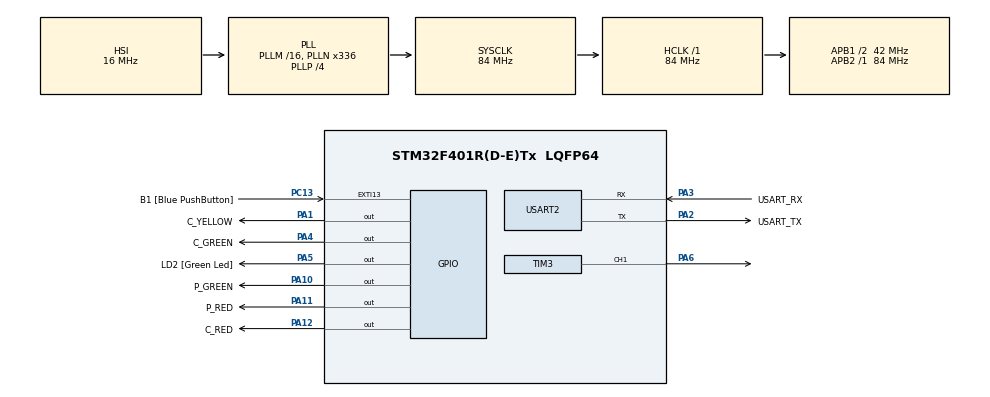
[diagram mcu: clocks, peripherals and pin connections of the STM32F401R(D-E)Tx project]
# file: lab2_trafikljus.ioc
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Mcu.Family=STM32F4
Mcu.Name=STM32F401R(D-E)Tx
Mcu.Package=LQFP64
NVIC.EXTI15_10_IRQn=true\:0\:0\:false\:false\:true\:true\:true\:true
NVIC.PriorityGroup=NVIC_PRIORITYGROUP_0
PA1.GPIO_Label=C_YELLOW
PA1.Signal=GPIO_Output
PA10.GPIO_Label=P_GREEN
PA10.Signal=GPIO_Output
PA11.GPIO_Label=P_RED
PA11.Signal=GPIO_Output
PA12.GPIO_Label=C_RED
PA12.Signal=GPIO_Output
PA13.GPIO_Label=TMS
PA13.Mode=Serial_Wire
PA13.Signal=SYS_JTMS-SWDIO
PA14.GPIO_Label=TCK
PA14.Mode=Serial_Wire
PA14.Signal=SYS_JTCK-SWCLK
PA2.GPIO_Label=USART_TX
PA2.GPIO_Mode=GPIO_MODE_AF_PP
PA2.GPIO_PuPd=GPIO_NOPULL
PA2.GPIO_Speed=GPIO_SPEED_FREQ_LOW
PA2.Mode=Asynchronous
PA2.Signal=USART2_TX
PA3.GPIO_Label=USART_RX
PA3.GPIO_Mode=GPIO_MODE_AF_PP
PA3.GPIO_PuPd=GPIO_NOPULL
PA3.GPIO_Speed=GPIO_SPEED_FREQ_LOW
PA3.Mode=Asynchronous
PA3.Signal=USART2_RX
PA4.GPIO_Label=C_GREEN
PA4.Signal=GPIO_Output
PA5.GPIO_Label=LD2 [Green Led]
PA5.GPIO_Mode=GPIO_MODE_OUTPUT_PP
PA5.GPIO_PuPd=GPIO_NOPULL
PA5.GPIO_Speed=GPIO_SPEED_FREQ_LOW
PA5.Signal=GPIO_Output
PA6.Signal=S_TIM3_CH1
PB3.GPIO_Label=SWO
PB3.Signal=SYS_JTDO-SWO
PC13-ANTI_TAMP.GPIO_Label=B1 [Blue PushButton]
PC13-ANTI_TAMP.GPIO_ModeDefaultEXTI=GPIO_MODE_IT_FALLING
PC13-ANTI_TAMP.GPIO_PuPd=GPIO_NOPULL
PC13-ANTI_TAMP.Signal=GPXTI13
PC14-OSC32_IN.Mode=LSE-External-Oscillator
PC14-OSC32_IN.Signal=RCC_OSC32_IN
PC15-OSC32_OUT.Mode=LSE-External-Oscillator
PC15-OSC32_OUT.Signal=RCC_OSC32_OUT
PH0\ -\ OSC_IN.Mode=HSE-External-Clock-Source
PH0\ -\ OSC_IN.Signal=RCC_OSC_IN
PH1\ -\ OSC_OUT.Mode=HSE-External-Clock-Source
PH1\ -\ OSC_OUT.Signal=RCC_OSC_OUT
ProjectManager.HeapSize=0x200
ProjectManager.StackSize=0x400
ProjectManager.TargetToolchain=STM32CubeIDE
RCC.48MHZClocksFreq_Value=48000000
RCC.AHBFreq_Value=84000000
RCC.APB1CLKDivider=RCC_HCLK_DIV2
RCC.APB1Freq_Value=42000000
RCC.APB1TimFreq_Value=84000000
RCC.APB2Freq_Value=84000000
RCC.APB2TimFreq_Value=84000000
RCC.CortexFreq_Value=84000000
RCC.HCLKFreq_Value=84000000
RCC.HSE_VALUE=8000000
RCC.HSI_VALUE=16000000
RCC.PLLN=336
RCC.PLLP=RCC_PLLP_DIV4
RCC.PLLQ=7
RCC.SYSCLKFreq_VALUE=84000000
RCC.SYSCLKSource=RCC_SYSCLKSOURCE_PLLCLK
RCC.VCOOutputFreq_Value=336000000
SH.S_TIM3_CH1.0=TIM3_CH1,PWM Generation1 CH1
TIM3.Channel-PWM\ Generation1\ CH1=TIM_CHANNEL_1
USART2.VirtualMode=VM_ASYNC
VP_TIM3_VS_ClockSourceINT.Mode=Internal
board=NUCLEO-F401RE

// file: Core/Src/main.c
/* USER CODE BEGIN Header */
/**
  ******************************************************************************
  * @file           : main.c
  * @brief          : Main program body
  ******************************************************************************
  * @attention
  *
  * Copyright (c) 2024 STMicroelectronics.
  * All rights reserved.
  *
  * This software is licensed under terms that can be found in the LICENSE file
  * in the root directory of this software component.
  * If no LICENSE file comes with this software, it is provided AS-IS.
  *
  ******************************************************************************
  */
/* USER CODE END Header */
#include "main.h"

/* USER CODE BEGIN Includes */
#include "abuzz.h"
/* USER CODE END Includes */

/* USER CODE BEGIN PTD */

enum event {
    ev_none = 0,
    ev_button_push,
    ev_state_timeout,
	ev_error = -99
};

#define EVQ_SIZE 10

enum event evq[ EVQ_SIZE];
int 	evq_count		= 0;
int 	evq_front_ix	= 0;
int 	evq_rear_ix		= 0;

typedef enum state {
    s_init,
    s_car_go,
    s_pushed_wait,
    s_cars_stopping,
    s_car_stopped,
    s_go_people,
    s_stop_people,
    s_cars_wait
} State_Type;

// Global variables for state and events
State_Type current_state = s_init;
enum event current_event = ev_none;

// Switch case state machine
void set_traffic_lights(enum state current_state) {
	HAL_GPIO_WritePin(P_GREEN_GPIO_Port, P_GREEN_Pin, GPIO_PIN_RESET);
	HAL_GPIO_WritePin(P_RED_GPIO_Port,   P_RED_Pin,   GPIO_PIN_RESET);
	HAL_GPIO_WritePin(C_GREEN_GPIO_Port, C_GREEN_Pin, GPIO_PIN_RESET);
	HAL_GPIO_WritePin(C_RED_GPIO_Port, C_RED_Pin, GPIO_PIN_RESET);
	HAL_GPIO_WritePin(C_YELLOW_GPIO_Port, C_YELLOW_Pin, GPIO_PIN_RESET);
    switch (current_state) {
        case s_init:
        	HAL_GPIO_WritePin(P_GREEN_GPIO_Port, P_GREEN_Pin, GPIO_PIN_SET);
        	HAL_GPIO_WritePin(P_RED_GPIO_Port,   P_RED_Pin,   GPIO_PIN_SET);
        	HAL_GPIO_WritePin(C_GREEN_GPIO_Port, C_GREEN_Pin, GPIO_PIN_SET);
        	HAL_GPIO_WritePin(C_RED_GPIO_Port, C_RED_Pin, GPIO_PIN_SET);
        	HAL_GPIO_WritePin(C_YELLOW_GPIO_Port, C_YELLOW_Pin, GPIO_PIN_SET);
        	break;
        case s_car_go:
        	HAL_GPIO_WritePin(C_GREEN_GPIO_Port, C_GREEN_Pin, GPIO_PIN_SET);
        	HAL_GPIO_WritePin(P_RED_GPIO_Port,   P_RED_Pin,   GPIO_PIN_SET);
            break;
        case s_pushed_wait:
        	HAL_GPIO_WritePin(C_GREEN_GPIO_Port, C_GREEN_Pin, GPIO_PIN_SET);
        	HAL_GPIO_WritePin(P_RED_GPIO_Port,   P_RED_Pin,   GPIO_PIN_SET);
            break;
        case s_cars_stopping:
        	HAL_GPIO_WritePin(C_YELLOW_GPIO_Port, C_YELLOW_Pin, GPIO_PIN_SET);
        	HAL_GPIO_WritePin(P_RED_GPIO_Port,   P_RED_Pin,   GPIO_PIN_SET);
            break;
        case s_car_stopped:
        	HAL_GPIO_WritePin(C_RED_GPIO_Port, C_RED_Pin, GPIO_PIN_SET);
        	HAL_GPIO_WritePin(P_RED_GPIO_Port,   P_RED_Pin,   GPIO_PIN_SET);
            break;
        case s_go_people:
        	HAL_GPIO_WritePin(P_GREEN_GPIO_Port, P_GREEN_Pin, GPIO_PIN_SET);
        	HAL_GPIO_WritePin(C_RED_GPIO_Port, C_RED_Pin, GPIO_PIN_SET);
            break;
        case s_stop_people:
        	HAL_GPIO_WritePin(P_RED_GPIO_Port,   P_RED_Pin,   GPIO_PIN_SET);
        	HAL_GPIO_WritePin(C_RED_GPIO_Port, C_RED_Pin, GPIO_PIN_SET);
            break;
        case s_cars_wait:
        	HAL_GPIO_WritePin(P_RED_GPIO_Port,   P_RED_Pin,   GPIO_PIN_SET);
        	HAL_GPIO_WritePin(C_YELLOW_GPIO_Port, C_YELLOW_Pin, GPIO_PIN_SET);
            break;
        default:
            break;
    }
}

/* USER CODE END PTD */

TIM_HandleTypeDef htim3;

UART_HandleTypeDef huart2;

/* USER CODE BEGIN PV */
int  ticks_left_in_state = 0;
/* USER CODE END PV */

void SystemClock_Config(void);
static void MX_GPIO_Init(void);
static void MX_USART2_UART_Init(void);
static void MX_TIM3_Init(void);
/* USER CODE BEGIN PFP */
//HAL_TIM_PWM_Start(&htim3, TIM_CHANNEL_1);
/* USER CODE END PFP */

/* USER CODE BEGIN 0 */
int is_button_pressed()
{
    uint32_t reg_reading = GPIOC->IDR;
    uint16_t blue_button = 1 << 13;

    int bitValue = (reg_reading & blue_button) ? 1 : 0;
    if(bitValue)
    {
        return 1;
    }
    else
    {

    	return 0;

    }

}

void evq_init()
{
	for (int i=0; i < EVQ_SIZE; i++)
	{
		evq[i] = ev_error;
	}

}

void evq_push_back(enum event e)
{
	// if queue is flll ignroe e
	if(evq_count < EVQ_SIZE)
	{
		evq[evq_rear_ix] = e;
		evq_rear_ix++;
		evq_rear_ix %= EVQ_SIZE;
		evq_count++;
	}
}

enum event evq_pop_front()
{
	enum event e = ev_none;
	if (evq_count > 0)
	{
		e = evq[evq_front_ix];
		evq[evq_front_ix] = ev_error;
		evq_front_ix++;
		evq_front_ix %= EVQ_SIZE;
		evq_count--;
	}
		return e;
}

void HAL_GPIO_EXTI_Callback(uint16_t GPIO_Pin)
{
    static uint32_t last_interrupt_time = 0;
    uint32_t current_time = HAL_GetTick(); // Get current tick

    if (GPIO_Pin == B1_Pin && (current_time - last_interrupt_time) > 200) // 200 ms debounce
    {
        last_interrupt_time = current_time;  // Update last interrupt time
        evq_push_back(ev_button_push);
    }
}

int systick_count = 0;

void my_systick_handler()
{
	enum event eve;

		  if(ticks_left_in_state == 1)
			 {
			    eve = ev_state_timeout;
			    evq_push_back(eve);
			    HAL_GPIO_TogglePin(LD2_GPIO_Port, LD2_Pin);
		  	}
			if(ticks_left_in_state > 0)
		  	{
			   ticks_left_in_state--;
			}

}

/* USER CODE END 0 */

int main(void)
{

  /* USER CODE BEGIN 1 */

	uint32_t last_tick = 0;
	int 	 last_button_press;
	int 	 current_button_press;

  /* USER CODE END 1 */

  /* MCU Configuration--------------------------------------------------------*/

  /* Reset of all peripherals, Initializes the Flash interface and the Systick. */
  HAL_Init();

  /* Configure the system clock */
  SystemClock_Config();

  /* Initialize all configured peripherals */
  MX_GPIO_Init();
  MX_USART2_UART_Init();
  MX_TIM3_Init();
  HAL_TIM_PWM_Start(&htim3, TIM_CHANNEL_1);
  /* USER CODE BEGIN 2 */
  enum state current_state = s_init;
  //current_button_press = is_button_pressed();
  set_traffic_lights(s_init);
  /* USER CODE END 2 */

  /* Infinite loop */
  /* USER CODE BEGIN WHILE */
  while (1)
  {
	  enum event ev = ev_none;

	  	  //current_button_press = is_button_pressed();

	  	  uint32_t current_tick = HAL_GetTick();

//	  	  if(current_tick != last_tick)
//	  	  {
//	  		if(ticks_left_in_state == 1)
//	  		 {
//	  			  ev = ev_state_timeout;
//	  		 }
//	  		if(ticks_left_in_state > 0)
//	  		{
//	  		 ticks_left_in_state--;
//	  		}
//	  	  }
//
//	  	  if((current_button_press == 0) && (last_button_press != current_button_press))
//	  	  {
//	  		ev = ev_button_push;
//	  	  }
	  	  ev = evq_pop_front();

	        switch (current_state) {
	                case s_init:
	              	  if(ev == ev_button_push)
	              	  {
	              		ev = ev_none;
	              		ticks_left_in_state = 1500;
	              		current_state = s_car_stopped;
	              		set_traffic_lights(s_car_stopped);
	              	  }
	                	break;
	                case s_car_go:
	              	  if(ev == ev_button_push)
	              	  {
	              		  ev 				   = ev_none;
	              		  current_state 	   = s_pushed_wait;
	              		  ticks_left_in_state = 2000;
	              		  set_traffic_lights(s_pushed_wait);
	              		  abuzz_start();
	              		  abuzz_p_long();
	              	  }
	                	  break;
	                case s_pushed_wait:
	              	  if (ev == ev_state_timeout)
	              	  {
	              		  ev = ev_none;
	              		  current_state = s_cars_stopping;
	              		  ticks_left_in_state = 1000;
	              		  set_traffic_lights(s_cars_stopping);
	              	  }
	                	  break;
	                case s_cars_stopping:
	              	  if(ev == ev_state_timeout)
	              	  {
	              		  ev = ev_none;
	              		  current_state = s_car_stopped;
	              		  ticks_left_in_state = 1000;
	              		  set_traffic_lights(s_car_stopped);
	              		  abuzz_stop();
	              	  }
	                	  break;
	                case s_car_stopped:
	                    if ( ev == ev_state_timeout )
	                    {
	                        ev = ev_none; // clear event
	                        current_state = s_go_people; // set next state
	                        ticks_left_in_state = 2500; // set next timeout
	                        set_traffic_lights(s_go_people);
	                        abuzz_start();
	                        abuzz_p_short(); // set output
	                    }
	                	 break;
	                case s_go_people:
	              	  if(ev == ev_state_timeout)
	              	  {
	              		  ev = ev_none;
	              		  current_state = s_stop_people;
	              		  ticks_left_in_state = 5000;
	              		  set_traffic_lights(s_stop_people);
	              		  abuzz_stop();
	              	  }
	                	break;
	                case s_stop_people:
	              	  if(ev == ev_state_timeout)
	              	  {
	              		  ev 		= ev_none;
	              		  current_state    	= s_cars_wait;
	              		  ticks_left_in_state = 2000;
	              		  set_traffic_lights(s_cars_wait);
	              	  }
	                	 break;
	                case s_cars_wait:
	  			  	  if(ev == ev_state_timeout)
	  			  	  {
	  			  		  ev = ev_none;
	  			  		  current_state= s_car_go;
	  			  		  //ticks_left_in_state = 2000;
	  			  		  set_traffic_lights(s_car_go);
	  			  	  }
	                	break;
	                default:
	                    break;
	            }

	        // Here you can change the event to test state transitions
	        //current_event = ev_button_push;
	        last_tick = current_tick;
	        last_button_press = current_button_press;
  }

    /* USER CODE END WHILE */

}

void SystemClock_Config(void)
{
  RCC_OscInitTypeDef RCC_OscInitStruct = {0};
  RCC_ClkInitTypeDef RCC_ClkInitStruct = {0};

  /** Configure the main internal regulator output voltage
  */
  __HAL_RCC_PWR_CLK_ENABLE();
  __HAL_PWR_VOLTAGESCALING_CONFIG(PWR_REGULATOR_VOLTAGE_SCALE2);

  /** Initializes the RCC Oscillators according to the specified parameters
  * in the RCC_OscInitTypeDef structure.
  */
  RCC_OscInitStruct.OscillatorType = RCC_OSCILLATORTYPE_HSI;
  RCC_OscInitStruct.HSIState = RCC_HSI_ON;
  RCC_OscInitStruct.HSICalibrationValue = RCC_HSICALIBRATION_DEFAULT;
  RCC_OscInitStruct.PLL.PLLState = RCC_PLL_ON;
  RCC_OscInitStruct.PLL.PLLSource = RCC_PLLSOURCE_HSI;
  RCC_OscInitStruct.PLL.PLLM = 16;
  RCC_OscInitStruct.PLL.PLLN = 336;
  RCC_OscInitStruct.PLL.PLLP = RCC_PLLP_DIV4;
  RCC_OscInitStruct.PLL.PLLQ = 7;
  if (HAL_RCC_OscConfig(&RCC_OscInitStruct) != HAL_OK)
  {
    Error_Handler();
  }

  /** Initializes the CPU, AHB and APB buses clocks
  */
  RCC_ClkInitStruct.ClockType = RCC_CLOCKTYPE_HCLK|RCC_CLOCKTYPE_SYSCLK
                              |RCC_CLOCKTYPE_PCLK1|RCC_CLOCKTYPE_PCLK2;
  RCC_ClkInitStruct.SYSCLKSource = RCC_SYSCLKSOURCE_PLLCLK;
  RCC_ClkInitStruct.AHBCLKDivider = RCC_SYSCLK_DIV1;
  RCC_ClkInitStruct.APB1CLKDivider = RCC_HCLK_DIV2;
  RCC_ClkInitStruct.APB2CLKDivider = RCC_HCLK_DIV1;

  if (HAL_RCC_ClockConfig(&RCC_ClkInitStruct, FLASH_LATENCY_2) != HAL_OK)
  {
    Error_Handler();
  }
}

static void MX_TIM3_Init(void)
{

  TIM_ClockConfigTypeDef sClockSourceConfig = {0};
  TIM_MasterConfigTypeDef sMasterConfig = {0};
  TIM_OC_InitTypeDef sConfigOC = {0};

  htim3.Instance = TIM3;
  htim3.Init.Prescaler = 0;
  htim3.Init.CounterMode = TIM_COUNTERMODE_UP;
  htim3.Init.Period = 65535;
  htim3.Init.ClockDivision = TIM_CLOCKDIVISION_DIV1;
  htim3.Init.AutoReloadPreload = TIM_AUTORELOAD_PRELOAD_DISABLE;
  if (HAL_TIM_Base_Init(&htim3) != HAL_OK)
  {
    Error_Handler();
  }
  sClockSourceConfig.ClockSource = TIM_CLOCKSOURCE_INTERNAL;
  if (HAL_TIM_ConfigClockSource(&htim3, &sClockSourceConfig) != HAL_OK)
  {
    Error_Handler();
  }
  if (HAL_TIM_PWM_Init(&htim3) != HAL_OK)
  {
    Error_Handler();
  }
  sMasterConfig.MasterOutputTrigger = TIM_TRGO_RESET;
  sMasterConfig.MasterSlaveMode = TIM_MASTERSLAVEMODE_DISABLE;
  if (HAL_TIMEx_MasterConfigSynchronization(&htim3, &sMasterConfig) != HAL_OK)
  {
    Error_Handler();
  }
  sConfigOC.OCMode = TIM_OCMODE_PWM1;
  sConfigOC.Pulse = 0;
  sConfigOC.OCPolarity = TIM_OCPOLARITY_HIGH;
  sConfigOC.OCFastMode = TIM_OCFAST_DISABLE;
  if (HAL_TIM_PWM_ConfigChannel(&htim3, &sConfigOC, TIM_CHANNEL_1) != HAL_OK)
  {
    Error_Handler();
  }
  HAL_TIM_MspPostInit(&htim3);

}

static void MX_USART2_UART_Init(void)
{

  huart2.Instance = USART2;
  huart2.Init.BaudRate = 115200;
  huart2.Init.WordLength = UART_WORDLENGTH_8B;
  huart2.Init.StopBits = UART_STOPBITS_1;
  huart2.Init.Parity = UART_PARITY_NONE;
  huart2.Init.Mode = UART_MODE_TX_RX;
  huart2.Init.HwFlowCtl = UART_HWCONTROL_NONE;
  huart2.Init.OverSampling = UART_OVERSAMPLING_16;
  if (HAL_UART_Init(&huart2) != HAL_OK)
  {
    Error_Handler();
  }

}

static void MX_GPIO_Init(void)
{
  GPIO_InitTypeDef GPIO_InitStruct = {0};

  /* GPIO Ports Clock Enable */
  __HAL_RCC_GPIOC_CLK_ENABLE();
  __HAL_RCC_GPIOH_CLK_ENABLE();
  __HAL_RCC_GPIOA_CLK_ENABLE();
  __HAL_RCC_GPIOB_CLK_ENABLE();

  /*Configure GPIO pin Output Level */
  HAL_GPIO_WritePin(GPIOA, C_YELLOW_Pin|C_GREEN_Pin|LD2_Pin|P_GREEN_Pin
                          |P_RED_Pin|C_RED_Pin, GPIO_PIN_RESET);

  /*Configure GPIO pin : B1_Pin */
  GPIO_InitStruct.Pin = B1_Pin;
  GPIO_InitStruct.Mode = GPIO_MODE_IT_FALLING;
  GPIO_InitStruct.Pull = GPIO_NOPULL;
  HAL_GPIO_Init(B1_GPIO_Port, &GPIO_InitStruct);

  /*Configure GPIO pins : C_YELLOW_Pin C_GREEN_Pin LD2_Pin P_GREEN_Pin
                           P_RED_Pin C_RED_Pin */
  GPIO_InitStruct.Pin = C_YELLOW_Pin|C_GREEN_Pin|LD2_Pin|P_GREEN_Pin
                          |P_RED_Pin|C_RED_Pin;
  GPIO_InitStruct.Mode = GPIO_MODE_OUTPUT_PP;
  GPIO_InitStruct.Pull = GPIO_NOPULL;
  GPIO_InitStruct.Speed = GPIO_SPEED_FREQ_LOW;
  HAL_GPIO_Init(GPIOA, &GPIO_InitStruct);

  /* EXTI interrupt init*/
  HAL_NVIC_SetPriority(EXTI15_10_IRQn, 0, 0);
  HAL_NVIC_EnableIRQ(EXTI15_10_IRQn);

}

void Error_Handler(void)
{
  __disable_irq();
  while (1)
  {
  }
}
